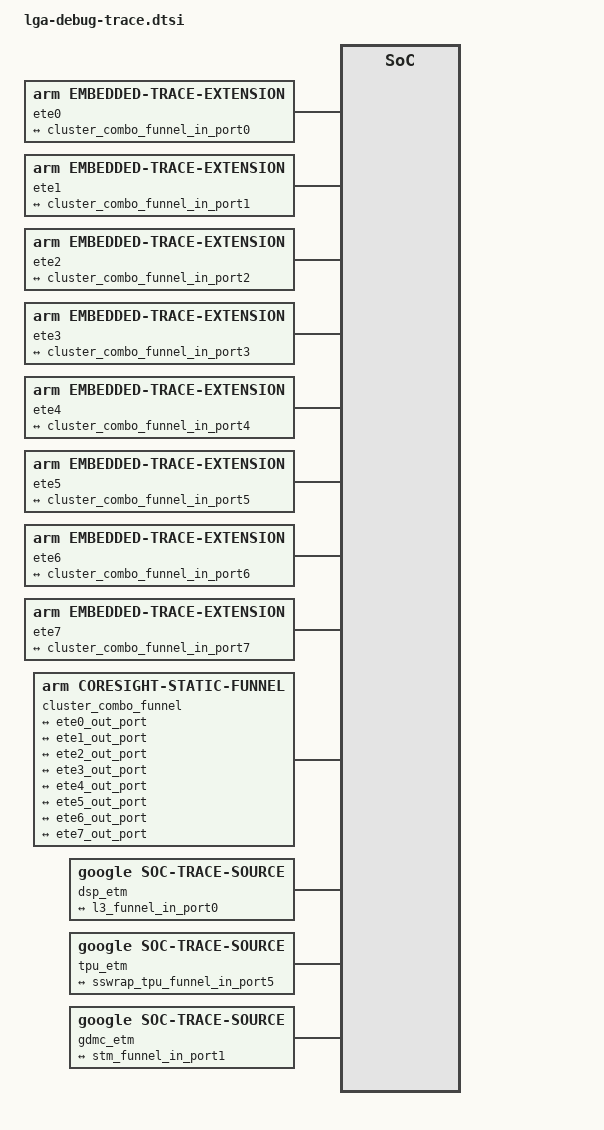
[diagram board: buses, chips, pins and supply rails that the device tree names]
// SPDX-License-Identifier: GPL-2.0-only

/*
 * LGA trace devices
 *
 * Copyright 2023 Google LLC
 */

/ {
	ete0: ete0 {
		compatible = "arm,embedded-trace-extension";
		cpu = <&hayes_0>;

		out-ports {
			port {
				ete0_out_port: endpoint {
					remote-endpoint = <&cluster_combo_funnel_in_port0>;
				};
			};
		};
	};

	ete1: ete1 {
		compatible = "arm,embedded-trace-extension";
		cpu = <&hayes_1>;

		out-ports {
			port {
				ete1_out_port: endpoint {
					remote-endpoint = <&cluster_combo_funnel_in_port1>;
				};
			};
		};
	};

	ete2: ete2 {
		compatible = "arm,embedded-trace-extension";
		cpu = <&hunter_0>;

		out-ports {
			port {
				ete2_out_port: endpoint {
					remote-endpoint = <&cluster_combo_funnel_in_port2>;
				};
			};
		};
	};

	ete3: ete3 {
		compatible = "arm,embedded-trace-extension";
		cpu = <&hunter_1>;

		out-ports {
			port {
				ete3_out_port: endpoint {
					remote-endpoint = <&cluster_combo_funnel_in_port3>;
				};
			};
		};
	};

	ete4: ete4 {
		compatible = "arm,embedded-trace-extension";
		cpu = <&hunter_2>;

		out-ports {
			port {
				ete4_out_port: endpoint {
					remote-endpoint = <&cluster_combo_funnel_in_port4>;
				};
			};
		};
	};

	ete5: ete5 {
		compatible = "arm,embedded-trace-extension";
		cpu = <&hunter_3>;

		out-ports {
			port {
				ete5_out_port: endpoint {
					remote-endpoint = <&cluster_combo_funnel_in_port5>;
				};
			};
		};
	};

	ete6: ete6 {
		compatible = "arm,embedded-trace-extension";
		cpu = <&hunter_4>;

		out-ports {
			port {
				ete6_out_port: endpoint {
					remote-endpoint = <&cluster_combo_funnel_in_port6>;
				};
			};
		};
	};

	ete7: ete7 {
		compatible = "arm,embedded-trace-extension";
		cpu = <&hunterelp_0>;

		out-ports {
			port {
				ete7_out_port: endpoint {
					remote-endpoint = <&cluster_combo_funnel_in_port7>;
				};
			};
		};
	};

	trbe {
		compatible = "arm,trace-buffer-extension";
		interrupts = <GIC_PPI 2 IRQ_TYPE_LEVEL_HIGH 0>;
	};

	/* An invisible funnel combine cpu clusters trace */
	cluster_combo_funnel: cluster_combo_funnel {
		compatible = "arm,coresight-static-funnel";

		clock = <&osc>;
		clock-names = "apb_pclk";

		in-ports {
			#address-cells = <1>;
			#size-cells = <0>;

			port@0 {
				reg = <0>;
				cluster_combo_funnel_in_port0: endpoint {
					remote-endpoint = <&ete0_out_port>;
				};
			};

			port@1 {
				reg = <1>;
				cluster_combo_funnel_in_port1: endpoint {
					remote-endpoint = <&ete1_out_port>;
				};
			};

			port@2 {
				reg = <2>;
				cluster_combo_funnel_in_port2: endpoint {
					remote-endpoint = <&ete2_out_port>;
				};
			};

			port@3 {
				reg = <3>;
				cluster_combo_funnel_in_port3: endpoint {
					remote-endpoint = <&ete3_out_port>;
				};
			};

			port@4 {
				reg = <4>;
				cluster_combo_funnel_in_port4: endpoint {
					remote-endpoint = <&ete4_out_port>;
				};
			};

			port@5 {
				reg = <5>;
				cluster_combo_funnel_in_port5: endpoint {
					remote-endpoint = <&ete5_out_port>;
				};
			};

			port@6 {
				reg = <6>;
				cluster_combo_funnel_in_port6: endpoint {
					remote-endpoint = <&ete6_out_port>;
				};
			};

			port@7 {
				reg = <7>;
				cluster_combo_funnel_in_port7: endpoint {
					remote-endpoint = <&ete7_out_port>;
				};
			};
		};

		out-ports {
			port {
				cluster_combo_funnel_out_port: endpoint {
					remote-endpoint = <&apc_funnel_in_port0>;
				};
			};
		};
	};

	apc_funnel: funnel@23801000 {
		compatible = "arm,coresight-dynamic-funnel", "arm,primecell";
		reg = <0 0x23801000 0 0x1000>;

		clocks = <&cpu_sswrp_tss_clk>;
		clock-names = "apb_pclk";

		in-ports {
			#address-cells = <1>;
			#size-cells = <0>;

			port@0 {
				reg = <0>;
				apc_funnel_in_port0: endpoint {
					remote-endpoint = <&cluster_combo_funnel_out_port>;
				};
			};

			// This empty 'port@1' is to avoid DTC warnings.
			// Please utlize this first when adding new port.
			port@1 {
				reg = <1>;
			};
		};

		out-ports {
			port {
				apc_funnel_out_port: endpoint {
					remote-endpoint = <&apc_etf_in_port>;
				};
			};
		};
	};

	apc_etf: etf@23802000 {
		compatible = "arm,coresight-tmc", "arm,primecell";
		reg = <0 0x23802000 0 0x1000>;

		clocks = <&cpu_sswrp_tss_clk>;
		clock-names = "apb_pclk";

		in-ports {
			port {
				apc_etf_in_port: endpoint {
					remote-endpoint = <&apc_funnel_out_port>;
				};
			};
		};

		out-ports {
			port {
				apc_etf_out_port: endpoint {
					remote-endpoint = <&l2_funnel_in_port0>;
				};
			};
		};
	};

	dsp_etm: dsp_etm  {
		compatible="google,soc-trace-source";

		trace-name = "dsp_etm";
		trace-id = <0x30>;
		out-ports {
			port {
				dsp_etm_out_port: endpoint {
					remote-endpoint = <&l3_funnel_in_port0>;
				};
			};
		};
	};

	tpu_etm: tpu_etm  {
		compatible="google,soc-trace-source";

		trace-name = "tpu_etm";
		trace-id = <0x30>;
		out-ports {
			port {
				tpu_etm_out_port: endpoint {
					remote-endpoint = <&sswrap_tpu_funnel_in_port5>;
				};
			};
		};
	};

	sswrap_tpu_funnel: funnel@362C2000 {
		compatible = "arm,coresight-dynamic-funnel", "arm,primecell";
		reg = <0 0x362C2000 0 0x1000>;

		clocks = <&osc>;
		clock-names = "apb_pclk";

		power-domains = <&sswrp_tpu_pd>;

		in-ports {
			port@5 {
				reg = <5>;
				sswrap_tpu_funnel_in_port5: endpoint {
					remote-endpoint = <&tpu_etm_out_port>;
				};
			};
		};

		out-ports {
			port {
				sswrap_tpu_funnel_out_port: endpoint {
					remote-endpoint = <&sswrap_tpu_etf_in_port>;
				};
			};
		};
	};

	sswrap_tpu_etf: etf@362C3000 {
		compatible = "arm,coresight-tmc", "arm,primecell";
		reg = <0 0x362C3000 0 0x1000>;

		clocks = <&osc>;
		clock-names = "apb_pclk";

		power-domains = <&sswrp_tpu_pd>;

		in-ports {
			port {
				sswrap_tpu_etf_in_port: endpoint {
					remote-endpoint = <&sswrap_tpu_funnel_out_port>;
				};
			};
		};

		out-ports {
			port {
				sswrap_tpu_etf_out_port: endpoint {
					remote-endpoint = <&l3_funnel_in_port5>;
				};
			};
		};
	};

	// Funnel in HBW FAB
	l3_funnel: funnel@34182000 {
		compatible = "arm,coresight-dynamic-funnel", "arm,primecell";
		reg = <0 0x34182000 0 0x1000>;

		clocks = <&osc>;
		clock-names = "apb_pclk";

		in-ports {
			port@0 {
				reg = <0>;
				l3_funnel_in_port0: endpoint {
					remote-endpoint = <&dsp_etm_out_port>;
				};
			};

			port@5 {
				reg = <5>;
				l3_funnel_in_port5: endpoint {
					remote-endpoint = <&sswrap_tpu_etf_out_port>;
				};
			};
		};

		out-ports {
			port {
				l3_funnel_out_port: endpoint {
					remote-endpoint = <&l3_etf_in_port>;
				};
			};
		};
	};

	// ETF in HBW FAB
	l3_etf: etf@34181000 {
		compatible = "arm,coresight-tmc", "arm,primecell";
		reg = <0 0x34181000 0 0x1000>;

		clocks = <&osc>;
		clock-names = "apb_pclk";

		in-ports {
			port {
				l3_etf_in_port: endpoint {
					remote-endpoint = <&l3_funnel_out_port>;
				};
			};
		};

		out-ports {
			port {
				l3_etf_out_port: endpoint {
					remote-endpoint = <&l2_funnel_in_port3>;
				};
			};
		};
	};

	// Funnel in MEMSS FAB
	l2_funnel: funnel@28484000 {
		compatible = "arm,coresight-dynamic-funnel", "arm,primecell";
		reg = <0 0x28484000 0 0x1000>;

		clocks = <&osc>;
		clock-names = "apb_pclk";

		in-ports {
			port@0 {
				reg = <0>;
				l2_funnel_in_port0: endpoint {
					remote-endpoint = <&apc_etf_out_port>;
				};
			};

			port@3 {
				reg = <3>;
				l2_funnel_in_port3: endpoint {
					remote-endpoint = <&l3_etf_out_port>;
				};
			};
		};

		out-ports {
			port {
				l2_funnel_out_port: endpoint {
					remote-endpoint = <&l2_etf_in_port>;
				};
			};
		};
	};

	// ETF in MEMSS FAB
	l2_etf: etf@28485000 {
		compatible = "arm,coresight-tmc", "arm,primecell";
		reg = <0 0x28485000 0 0x1000>;

		clocks = <&osc>;
		clock-names = "apb_pclk";

		in-ports {
			port {
				l2_etf_in_port: endpoint {
					remote-endpoint = <&l2_funnel_out_port>;
				};
			};
		};

		out-ports {
			port {
				l2_etf_out_port: endpoint {
					remote-endpoint = <&l1_funnel_in_port3>;
				};
			};
		};
	};

	// Funnel in STBYFAB
	l1_funnel: funnel@4d82000 {
		compatible = "arm,coresight-dynamic-funnel", "arm,primecell";
		reg = <0 0x04d82000 0 0x1000>;

		clocks = <&osc>;
		clock-names = "apb_pclk";

		in-ports {
			#address-cells = <1>;
			#size-cells = <0>;

			port@3 { //TODO: Check this is correct port for MEMSS ????
				reg = <3>;
				l1_funnel_in_port3: endpoint {
					remote-endpoint = <&l2_etf_out_port>;
				};
			};
		};

		out-ports {
			port {
				l1_funnel_out_port: endpoint {
					remote-endpoint = <&l1_etf_in_port>;
				};
			};
		};
	};

	// ETF in STBYFAB
	l1_etf: etf@4d81000 {
		compatible = "arm,coresight-tmc", "arm,primecell";
		reg = <0 0x04d81000 0 0x1000>;

		clocks = <&osc>;
		clock-names = "apb_pclk";

		in-ports {
			port {
				l1_etf_in_port: endpoint {
					remote-endpoint = <&l1_funnel_out_port>;
				};
			};
		};

		out-ports {
			port {
				l1_etf_out_port: endpoint {
					remote-endpoint = <&l0_funnel_in_port2>;
				};
			};
		};
	};

	// STM in GDMC
	stm: stm@646b000 {
		compatible = "arm,coresight-stm", "arm,primecell";
		reg = <0 0x0646b000 0 0x1000>,
		      <0 0x07000000 0 0x1000000>;
		reg-names = "stm-base", "stm-stimulus-base";

		clocks = <&osc>;
		clock-names = "apb_pclk";

		out-ports {
			port {
				stm_out_port: endpoint {
					remote-endpoint = <&stm_funnel_in_port2>;
				};
			};
		};
	};

	// GDMC ETM
	gdmc_etm: gdmc_etm  {
		compatible="google,soc-trace-source";

		trace-name = "gdmc_etm";
		trace-id = <0x30>; // random value for now
		out-ports {
			port {
				gdmc_etm_out_port: endpoint {
					remote-endpoint = <&stm_funnel_in_port1>;
				};
			};
		};
	};

	// STM Funnel in GDMC
	stm_funnel: funnel@646a000 {
		compatible = "arm,coresight-dynamic-funnel", "arm,primecell";
		reg = <0 0x0646a000 0 0x1000>;

		clocks = <&osc>;
		clock-names = "apb_pclk";

		in-ports {
			#address-cells = <1>;
			#size-cells = <0>;

			port@1 {
				reg = <1>;
				stm_funnel_in_port1: endpoint {
					remote-endpoint = <&gdmc_etm_out_port>;
				};
			};

			port@2 {
				reg = <2>;
				stm_funnel_in_port2: endpoint {
					remote-endpoint = <&stm_out_port>;
				};
			};
		};

		out-ports {
			port {
				stm_funnel_out_port: endpoint {
					remote-endpoint = <&l0_funnel_in_port0>;
				};
			};
		};
	};

	// cssys_l0_funnel in SSWRP GDMC
	l0_funnel: funnel@646c000 {
		compatible = "arm,coresight-dynamic-funnel", "arm,primecell";
		reg = <0 0x0646c000 0 0x1000>;

		clocks = <&osc>;
		clock-names = "apb_pclk";

		in-ports {
			#address-cells = <1>;
			#size-cells = <0>;

			port@0 {
				reg = <0>;
				l0_funnel_in_port0: endpoint {
					remote-endpoint = <&stm_funnel_out_port>;
				};
			};

			port@2 {
				reg = <2>;
				l0_funnel_in_port2: endpoint {
					remote-endpoint = <&l1_etf_out_port>;
				};
			};
		};

		out-ports {
			port {
				l0_funnel_out_port: endpoint {
					remote-endpoint = <&l0_etf_in_port>;
				};
			};
		};
	};

	// ETF in GDMC
	l0_etf: etf@6300000 {
		compatible = "arm,coresight-tmc", "arm,primecell";
		reg = <0 0x06300000 0 0x1000>;

		clocks = <&osc>;
		clock-names = "apb_pclk";

		in-ports {
			port {
				l0_etf_in_port: endpoint {
					remote-endpoint = <&l0_funnel_out_port>;
				};
			};
		};

		out-ports {
			port {
				l0_etf_out_port: endpoint {
					remote-endpoint = <&replicator_in_port>;
				};
			};
		};
	};

	// Replicator in GDMC
	replicator: replicator@6304000 {
		compatible = "arm,coresight-dynamic-replicator", "arm,primecell";
		reg = <0 0x06304000 0 0x1000>;

		clocks = <&osc>;
		clock-names = "apb_pclk";

		in-ports {
			port {
				replicator_in_port: endpoint {
					remote-endpoint = <&l0_etf_out_port>;
				};
			};
		};

		out-ports {
			#address-cells = <1>;
			#size-cells = <0>;

			port@0 {
				reg = <0>;
				replicator_out_port0: endpoint {
					remote-endpoint = <&etr_in_port>;
				};
			};

			port@1 {
				reg = <1>;
				replicator_out_port1: endpoint {
					remote-endpoint = <&ets_in_port>;
				};
			};
		};
	};

	// ETS in GDMC
	ets: ets@6302000 {
		compatible = "arm,coresight-tmc-ets", "arm,primecell";
		reg = <0 0x06302000 0 0x1000>;

		clocks = <&osc>;
		clock-names = "apb_pclk";

		in-ports {
			port {
				ets_in_port: endpoint {
					remote-endpoint = <&replicator_out_port1>;
				};
			};
		};
	};

	// ETR in GDMC
	etr: etr@6301000 {
		compatible = "arm,coresight-tmc", "arm,primecell";
		reg = <0 0x06301000 0 0x1000>;

		clocks = <&osc>;
		clock-names = "apb_pclk";
		// Setting AXICTL write burst to 0. driver defaul value 0xFFFF cause MEMERR
		arm,max-burst-size=<0>;

		in-ports {
			port {
				etr_in_port: endpoint {
					remote-endpoint = <&replicator_out_port0>;
				};
			};
		};
		out-ports {
			port {
				etr_out_port: endpoint {
					remote-endpoint = <&catu_in_port>;
				};
			};
		};
	};

	// CATU
	catu: catu@6303000 {
		compatible = "arm,coresight-catu", "arm,primecell";
		reg = <0 0x06303000 0 0x1000>;

		clocks = <&osc>;
		clock-names = "apb_pclk";

		in-ports {
			port {
				catu_in_port: endpoint {
					remote-endpoint = <&etr_out_port>;
				};
			};
		};
	};
};
